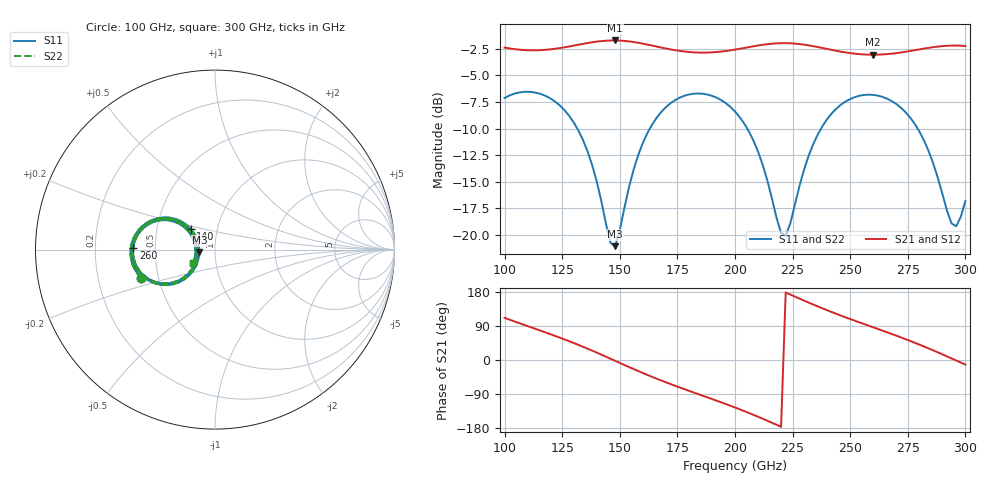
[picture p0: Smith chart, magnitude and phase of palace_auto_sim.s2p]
#  GHZ S DB R 50
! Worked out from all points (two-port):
!   101 points, 100 GHz to 300 GHz, reference 50 ohm
!   highest |S21| = -1.70 dB at 148 GHz (marker M1); lowest = -3.0 dB at 260 GHz (marker M2)
!   |S21| within 3 dB of the highest: start of sweep to end of sweep
!   lowest |S11| = -21.1 dB at 148 GHz (marker M3), VSWR 1.19, Z = 42 - j1.34 ohm
!   |S11| at or under -10 dB: 131.6 GHz to 163 GHz (31.5 GHz wide, 21.4 % of centre); 205.3 GHz to 237.4 GHz (32.05 GHz wide, 14.5 % of centre); 279.3 GHz to end of sweep
!   |S22| runs from -20.9 to -6.5 dB; largest |S21 - S12| = 9.1e-14
!   S11 on the Smith chart (normalised r, x): 100 GHz: 0.40, -0.16; 140 GHz: 0.74, +0.18; 260 GHz: 0.37, +0.01; 300 GHz: 0.77, -0.12
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100  -7.12 -159.0  -2.37 111.3  -2.37 111.3  -7.12 -158.9
110  -6.53 -177.2  -2.62 89.5  -2.62 89.5  -6.53 -177.1
118  -6.94 168.5  -2.58 72.2  -2.58 72.2  -6.94 168.7
134  -11.06 142.2  -2.02 35.0  -2.02 35.0  -11.05 142.6
140  -14.99 139.3  -1.81 19.5  -1.81 19.5  -14.95 139.8
146  -20.76 167.2  -1.71 3.3  -1.71 3.3  -20.59 167.6
148  -21.06 -169.7  -1.70 -2.2  -1.70 -2.2  -20.88 -169.9
158  -12.48 -135.7  -1.92 -29.1  -1.92 -29.1  -12.46 -136.0
168  -8.43 -149.7  -2.37 -54.1  -2.37 -54.1  -8.42 -149.9
184  -6.69 -177.6  -2.84 -89.9  -2.84 -89.9  -6.69 -177.7
200  -8.39 155.2  -2.56 -125.3  -2.56 -125.3  -8.38 155.2
212  -13.39 141.4  -2.11 -155.0  -2.11 -155.0  -13.37 141.5
220  -19.82 168.9  -1.96 -176.3  -1.96 -176.3  -19.73 168.9
222  -20.08 -171.6  -1.96 178.2  -1.96 178.2  -19.98 -171.8
234  -11.44 -139.7  -2.24 146.3  -2.24 146.3  -11.43 -140.1
246  -7.74 -157.3  -2.76 117.2  -2.76 117.2  -7.74 -157.5
260  -6.83 179.1  -3.04 86.3  -3.04 86.3  -6.82 178.9
268  -7.40 165.8  -2.95 68.7  -2.95 68.7  -7.40 165.6
282  -11.10 145.8  -2.47 35.7  -2.47 35.7  -11.11 145.5
294  -18.92 169.8  -2.19 4.1  -2.19 4.1  -19.02 169.6
296  -19.19 -173.5  -2.18 -1.3  -2.18 -1.3  -19.28 -173.5
300  -16.81 -148.3  -2.22 -12.1  -2.22 -12.1  -16.87 -148.1
